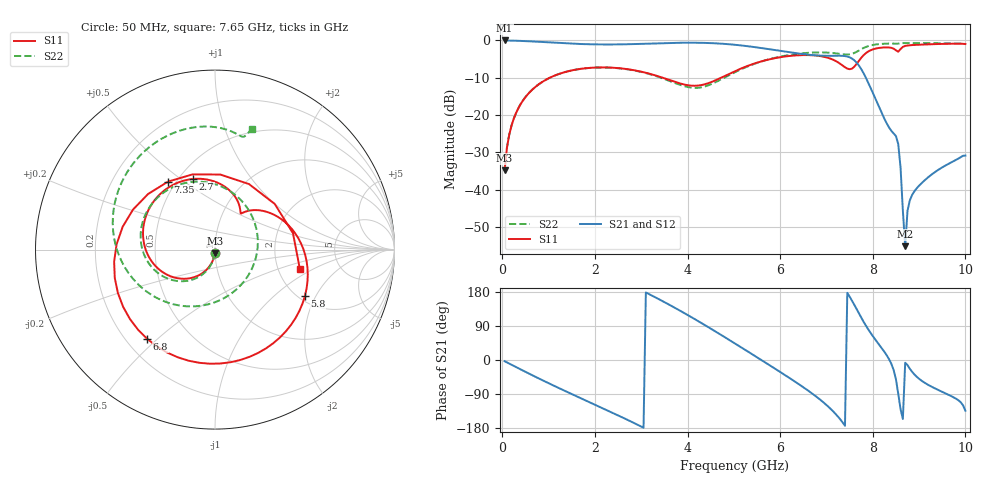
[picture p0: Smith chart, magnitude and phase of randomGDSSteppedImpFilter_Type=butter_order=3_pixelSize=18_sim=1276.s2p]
! freq	dB(S11)	phase(S11)	dB(S12)	phase(S12)
!  dB(S21)	phase(S21)	dB(S22)	phase(S22)
!S-par simulation data
#  GHz  S  DB  R 50
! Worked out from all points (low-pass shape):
!   200 points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, 50 MHz to 10 GHz, reference 50 ohm
!   highest |S21| = -0.01 dB at 50 MHz (marker M1); lowest = -55.2 dB at 8.7 GHz (marker M2)
!   |S21| within 3 dB of the highest: start of sweep to 6.109 GHz
!   lowest |S11| = -34.8 dB at 50 MHz (marker M3), VSWR 1.04, Z = 49.9 - j1.82 ohm
!   |S11| at or under -10 dB: start of sweep to 1.026 GHz; 3.464 GHz to 4.723 GHz (1.259 GHz wide, 30.8 % of centre)
!   |S22| runs from -34.8 to -0.7 dB; largest |S21 - S12| = 0
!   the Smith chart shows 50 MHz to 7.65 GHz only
!   S11 on the Smith chart (normalised r, x): 50 MHz: 1.00, -0.04; 2.7 GHz: 0.59, +0.56; 5.8 GHz: 2.15, -1.64; 6.8 GHz: 0.28, -0.46; 7.35 GHz: 0.45, +0.44; 7.65 GHz: 2.64, -0.73
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0.05  -34.77 -93.2  -0.01 -3.2  -0.01 -3.2  -34.77 -92.9
0.2  -22.80 -103.4  -0.04 -12.6  -0.04 -12.6  -22.79 -102.2
0.5  -15.20 -123.2  -0.18 -31.2  -0.18 -31.2  -15.18 -120.3
1.75  -7.52 160.8  -0.98 -103.9  -0.98 -103.9  -7.53 170.4
2.7  -7.70 107.3  -1.02 -157.7  -1.02 -157.7  -7.73 116.9
3.4  -9.74 72.1  -0.76 159.3  -0.76 159.3  -9.90 67.0
4.3  -11.96 53.6  -0.64 97.5  -0.64 97.5  -12.57 -39.4
5.05  -8.09 27.7  -1.20 41.6  -1.20 41.6  -8.35 -127.2
5.8  -4.97 -27.4  -2.42 -16.0  -2.42 -16.0  -4.91 172.7
6.7  -3.98 -114.8  -3.93 -89.3  -3.93 -89.3  -3.25 112.8
6.8  -4.09 -127.2  -4.02 -98.5  -4.02 -98.5  -3.21 106.7
7.35  -6.74 124.6  -4.13 -164.9  -4.13 -164.9  -3.71 78.5
7.65  -6.30 -12.6  -5.93 134.6  -5.93 134.6  -3.05 72.8
7.9  -2.98 -106.1  -11.27 81.1  -11.27 81.1  -1.53 58.9
8.1  -2.08 -155.5  -16.87 46.5  -16.87 46.5  -1.02 45.0
8.35  -1.89 156.4  -23.30 2.4  -23.30 2.4  -0.84 29.2
8.55  -3.01 130.1  -27.79 -88.9  -27.79 -88.9  -0.85 18.5
8.7  -1.47 111.5  -55.15 -7.3  -55.15 -7.3  -0.71 10.3
8.75  -1.36 103.9  -45.67 -13.4  -45.67 -13.4  -0.70 7.5
8.9  -1.20 83.6  -40.42 -38.2  -40.42 -38.2  -0.70 -0.2
9.45  -0.94 25.2  -34.40 -81.2  -34.40 -81.2  -0.75 -26.3
10  -0.96 -18.3  -30.86 -133.8  -30.86 -133.8  -0.96 -49.6
